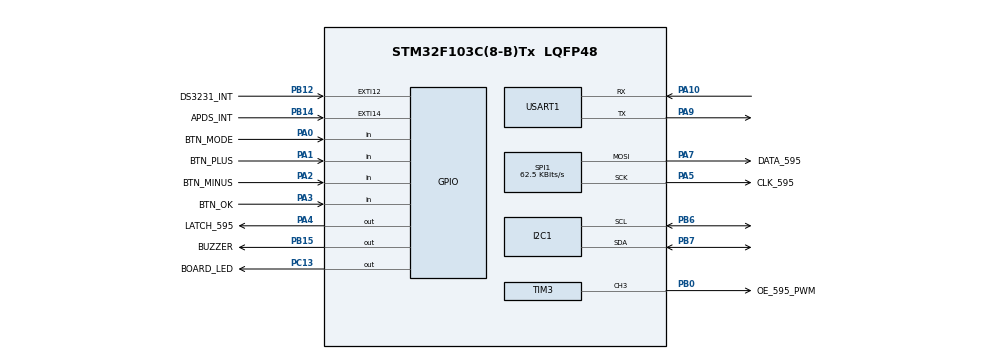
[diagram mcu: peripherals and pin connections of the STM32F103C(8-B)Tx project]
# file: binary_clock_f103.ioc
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Mcu.Family=STM32F1
Mcu.Name=STM32F103C(8-B)Tx
Mcu.Package=LQFP48
NVIC.EXTI15_10_IRQn=true\:0\:0\:false\:false\:true\:true\:true\:true
NVIC.PriorityGroup=NVIC_PRIORITYGROUP_4
NVIC.TIM2_IRQn=true\:0\:0\:false\:false\:true\:true\:true\:true
PA0-WKUP.GPIO_Label=BTN_MODE
PA0-WKUP.GPIO_PuPd=GPIO_PULLUP
PA0-WKUP.Signal=GPIO_Input
PA1.GPIO_Label=BTN_PLUS
PA1.GPIO_PuPd=GPIO_PULLUP
PA1.Signal=GPIO_Input
PA10.Mode=Asynchronous
PA10.Signal=USART1_RX
PA13.Mode=Serial_Wire
PA13.Signal=SYS_JTMS-SWDIO
PA14.Mode=Serial_Wire
PA14.Signal=SYS_JTCK-SWCLK
PA2.GPIO_Label=BTN_MINUS
PA2.GPIO_PuPd=GPIO_PULLUP
PA2.Signal=GPIO_Input
PA3.GPIO_Label=BTN_OK
PA3.GPIO_PuPd=GPIO_PULLUP
PA3.Signal=GPIO_Input
PA4.GPIO_Label=LATCH_595
PA4.GPIO_PuPd=GPIO_NOPULL
PA4.Signal=GPIO_Output
PA5.GPIO_Label=CLK_595
PA5.Mode=TX_Only_Simplex_Unidirect_Master
PA5.Signal=SPI1_SCK
PA7.GPIO_Label=DATA_595
PA7.Mode=TX_Only_Simplex_Unidirect_Master
PA7.Signal=SPI1_MOSI
PA9.Mode=Asynchronous
PA9.Signal=USART1_TX
PB0.GPIO_Label=OE_595_PWM
PB0.Signal=S_TIM3_CH3
PB12.GPIO_Label=DS3231_INT
PB12.GPIO_ModeDefaultEXTI=GPIO_MODE_IT_FALLING
PB12.GPIO_PuPd=GPIO_PULLUP
PB12.Signal=GPXTI12
PB14.GPIO_Label=APDS_INT
PB14.GPIO_ModeDefaultEXTI=GPIO_MODE_IT_FALLING
PB14.GPIO_PuPd=GPIO_PULLUP
PB14.Signal=GPXTI14
PB15.GPIO_Label=BUZZER
PB15.PinState=GPIO_PIN_SET
PB15.Signal=GPIO_Output
PB6.Mode=I2C
PB6.Signal=I2C1_SCL
PB7.Mode=I2C
PB7.Signal=I2C1_SDA
PC13-TAMPER-RTC.GPIO_Label=BOARD_LED
PC13-TAMPER-RTC.PinState=GPIO_PIN_SET
PC13-TAMPER-RTC.Signal=GPIO_Output
ProjectManager.HeapSize=0x200
ProjectManager.StackSize=0x400
ProjectManager.TargetToolchain=CMake
RCC.APB1Freq_Value=8000000
RCC.APB2Freq_Value=8000000
SH.S_TIM3_CH3.0=TIM3_CH3,PWM Generation3 CH3
SPI1.BaudRatePrescaler=SPI_BAUDRATEPRESCALER_128
SPI1.CalculateBaudRate=62.5 KBits/s
SPI1.Direction=SPI_DIRECTION_2LINES
SPI1.Mode=SPI_MODE_MASTER
SPI1.VirtualType=VM_MASTER
TIM2.Period=9
TIM2.Prescaler=7999
TIM3.Channel-PWM\ Generation3\ CH3=TIM_CHANNEL_3
TIM3.Period=999
TIM3.Prescaler=7
USART1.VirtualMode=VM_ASYNC
VP_TIM2_VS_ClockSourceINT.Mode=Internal
VP_TIM3_VS_ClockSourceINT.Mode=Internal
board=custom

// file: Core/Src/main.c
/* USER CODE BEGIN Header */
/**
  ******************************************************************************
  * @file           : main.c
  * @brief          : Main program body
  ******************************************************************************
  * @attention
  *
  * Copyright (c) 2026 STMicroelectronics.
  * All rights reserved.
  *
  * This software is licensed under terms that can be found in the LICENSE file
  * in the root directory of this software component.
  * If no LICENSE file comes with this software, it is provided AS-IS.
  *
  ******************************************************************************
  */
/* USER CODE END Header */
#include "main.h"

/* USER CODE BEGIN Includes */
#include "alarm_service.h"
#include "app_scheduler.h"
#include "apds9960_sensor.h"
#include "htu21d_sensor.h"
#include "rtc_ds3231.h"
#include <stdio.h>
#include <string.h>

/* USER CODE END Includes */

/* USER CODE BEGIN PTD */
typedef struct
{
  const char *name;
  GPIO_TypeDef *port;
  uint16_t pin;
  GPIO_PinState stable_level;
  GPIO_PinState last_raw_level;
  uint32_t last_raw_change_ms;
  uint32_t pressed_since_ms;
} ButtonTestState;

typedef enum
{
  APP_DISPLAY_MODE_TIME = 0,
  APP_DISPLAY_MODE_DATE,
  APP_DISPLAY_MODE_ENV,
  APP_DISPLAY_MODE_ALARM,
} AppDisplayMode;

typedef enum
{
  APP_EDIT_FIELD_NONE = 0,
  APP_EDIT_FIELD_TIME_HOURS,
  APP_EDIT_FIELD_TIME_MINUTES,
  APP_EDIT_FIELD_DATE_MONTH,
  APP_EDIT_FIELD_DATE_DAY,
  APP_EDIT_FIELD_ALARM_HOURS,
  APP_EDIT_FIELD_ALARM_MINUTES,
} AppEditField;

/* USER CODE END PTD */

/* USER CODE BEGIN PD */
#define SHIFT_REGISTER_BYTE_COUNT 3U
#define SHIFT_REGISTER_TIMEOUT_MS 10U
#define BRINGUP_STEP_DELAY_MS 500U
#define DISPLAY_STATUS_EDITING (1U << 1U)
#define DISPLAY_STATUS_TIME (1U << 2U)
#define DISPLAY_STATUS_DATE (1U << 3U)
#define DISPLAY_STATUS_ENV (1U << 4U)
#define DISPLAY_STATUS_ALARM (1U << 5U)
#define BRIGHTNESS_MIN_PERCENT 5U
#define BRIGHTNESS_MAX_PERCENT 100U
#define BRIGHTNESS_LOW_LIGHT_CLEAR 20U
#define BRIGHTNESS_HIGH_LIGHT_CLEAR 800U
#define BRIGHTNESS_SMOOTH_STEP_PERCENT 5U
#define GESTURE_ALARM_SEQUENCE_TIMEOUT_MS 1500U
#define PROXIMITY_SOFT_ALARM_ON 80U
#define PROXIMITY_SOFT_ALARM_OFF 35U
#define RTC_WRITE_EXAMPLE_ON_BOOT 0
#define BUTTON_COUNT 4U
#define BUTTON_MODE_INDEX 0U
#define BUTTON_PLUS_INDEX 1U
#define BUTTON_MINUS_INDEX 2U
#define BUTTON_OK_INDEX 3U
#define BUTTON_DEBOUNCE_MS 30U
#define BUTTON_LONG_PRESS_MS 800U
#define APP_DISPLAY_MODE_COUNT 4U

/* USER CODE END PD */

I2C_HandleTypeDef hi2c1;

SPI_HandleTypeDef hspi1;

TIM_HandleTypeDef htim2;
TIM_HandleTypeDef htim3;

UART_HandleTypeDef huart1;

/* USER CODE BEGIN PV */
static ButtonTestState button_test_states[BUTTON_COUNT] = {
  { "BTN_MODE", BTN_MODE_GPIO_Port, BTN_MODE_Pin, GPIO_PIN_SET, GPIO_PIN_SET, 0U, 0U },
  { "BTN_PLUS", BTN_PLUS_GPIO_Port, BTN_PLUS_Pin, GPIO_PIN_SET, GPIO_PIN_SET, 0U, 0U },
  { "BTN_MINUS", BTN_MINUS_GPIO_Port, BTN_MINUS_Pin, GPIO_PIN_SET, GPIO_PIN_SET, 0U, 0U },
  { "BTN_OK", BTN_OK_GPIO_Port, BTN_OK_Pin, GPIO_PIN_SET, GPIO_PIN_SET, 0U, 0U },
};
static AppDisplayMode app_display_mode = APP_DISPLAY_MODE_TIME;
static AppEditField app_edit_field = APP_EDIT_FIELD_NONE;
static bool app_edit_blink_on = true;
static uint8_t app_status_feedback_ticks = 0U;
static bool app_status_feedback_on = false;
static uint8_t app_edit_hours = 0U;
static uint8_t app_edit_minutes = 0U;
static uint8_t app_edit_month = 1U;
static uint8_t app_edit_day = 1U;
static RtcDs3231_DateTime latest_rtc_time;
static bool latest_rtc_time_valid = false;
static Htu21dMeasurement latest_env_measurement;
static bool latest_env_measurement_valid = false;
static AlarmService alarm_service;

/* USER CODE END PV */

void SystemClock_Config(void);
static void MX_GPIO_Init(void);
static void MX_I2C1_Init(void);
static void MX_SPI1_Init(void);
static void MX_TIM2_Init(void);
static void MX_TIM3_Init(void);
static void MX_USART1_UART_Init(void);
/* USER CODE BEGIN PFP */
static void Debug_WriteLine(const char *text);
static void Debug_WriteDateTime(const RtcDs3231_DateTime *date_time);
static void Debug_WriteMeasurement(const Htu21dMeasurement *measurement);
static void Debug_WriteAmbientLight(const Apds9960AmbientLight *light);
static void ButtonTest_Init(uint32_t now_ms);
static void ButtonTest_Update(uint32_t now_ms);
static uint8_t Brightness_CalculateTargetPercent(uint16_t clear_value);
static uint8_t Brightness_StepToward(uint8_t current_percent,
                                     uint8_t target_percent);
static void Brightness_SetPercent(uint8_t brightness_percent);
static uint8_t Display_EncodeBinary7(uint8_t value);
static uint8_t Display_BuildStatus(uint8_t mode_status);
static void Display_WriteRows(uint8_t top, uint8_t bottom, uint8_t status,
                              bool show_top, bool show_bottom);
static void Display_WriteTime(uint8_t hours, uint8_t minutes);
static void Display_WriteDate(uint8_t month, uint8_t day);
static void Display_WriteEnvironment(const Htu21dMeasurement *measurement);
static void Display_WriteAlarm(void);
static void Display_WriteEdit(void);
static void Display_WriteCurrentMode(const RtcDs3231_DateTime *date_time);
static const char *App_DisplayModeName(AppDisplayMode mode);
static const char *App_GestureName(Apds9960Gesture gesture);
static bool App_IsEditing(void);
static void App_SetDisplayMode(AppDisplayMode mode);
static void App_NextDisplayMode(void);
static void App_PreviousDisplayMode(void);
static uint8_t App_DaysInMonth(uint16_t year, uint8_t month);
static uint8_t App_WrapValue(uint8_t value, int8_t delta, uint8_t min_value,
                             uint8_t max_value);
static void App_StartSetupForCurrentMode(void);
static void App_CancelEdit(void);
static void App_AdjustEditValue(int8_t delta);
static void App_AdvanceOrSaveEdit(void);
static void App_HandleButtonShortPress(uint32_t button_index);
static void App_HandleOkButtonShortPress(void);
static bool App_IsAlarmRinging(void);
static void App_SnoozeAlarmOneMinute(void);
static void App_DismissAlarm(void);
static void App_HandleGesture(Apds9960Gesture gesture, uint32_t now_ms);
static void App_ReadRtcAndRefresh(void);
static void App_ReadEnvironmentAndRefresh(void);
static void App_ReadAmbientLightAndUpdate(uint8_t *current_brightness_percent);
static bool App_WriteRtcAndVerify(const RtcDs3231_DateTime *date_time,
                                  const char *label);
static void ShiftRegister_Write24(uint32_t value);

/* USER CODE END PFP */

/* USER CODE BEGIN 0 */
static void Debug_WriteLine(const char *text)
{
  if (text == NULL)
  {
    return;
  }

  (void) HAL_UART_Transmit(&huart1, (uint8_t *) text, strlen(text),
                           HAL_MAX_DELAY);
  (void) HAL_UART_Transmit(&huart1, (uint8_t *) "\r\n", 2U, HAL_MAX_DELAY);
}

static void Debug_WriteDateTime(const RtcDs3231_DateTime *date_time)
{
  char line[48];

  if (date_time == NULL)
  {
    return;
  }

  (void) snprintf(line, sizeof(line), "RTC %04u-%02u-%02u %02u:%02u:%02u",
                  date_time->year, date_time->month, date_time->day,
                  date_time->hours, date_time->minutes, date_time->seconds);
  Debug_WriteLine(line);
}

static void Debug_WriteMeasurement(const Htu21dMeasurement *measurement)
{
  char line[64];
  int16_t temperature;
  uint16_t humidity;
  char temperature_sign = '+';

  if (measurement == NULL)
  {
    return;
  }

  temperature = measurement->temperature_centi_c;
  humidity = measurement->humidity_centi_rh;

  if (temperature < 0)
  {
    temperature_sign = '-';
    temperature = (int16_t) -temperature;
  }

  (void) snprintf(line, sizeof(line), "ENV %c%d.%02d C %u.%02u %%RH",
                  temperature_sign, temperature / 100, temperature % 100,
                  humidity / 100U, humidity % 100U);
  Debug_WriteLine(line);
}

static void Debug_WriteAmbientLight(const Apds9960AmbientLight *light)
{
  char line[72];

  if (light == NULL)
  {
    return;
  }

  (void) snprintf(line, sizeof(line), "LIGHT C=%u R=%u G=%u B=%u",
                  light->clear, light->red, light->green, light->blue);
  Debug_WriteLine(line);
}

static void ButtonTest_Init(uint32_t now_ms)
{
  for (uint32_t index = 0U; index < BUTTON_COUNT; index++)
  {
    GPIO_PinState level = HAL_GPIO_ReadPin(button_test_states[index].port,
                                           button_test_states[index].pin);

    button_test_states[index].stable_level = level;
    button_test_states[index].last_raw_level = level;
    button_test_states[index].last_raw_change_ms = now_ms;
    button_test_states[index].pressed_since_ms = 0U;
  }
}

static void ButtonTest_Update(uint32_t now_ms)
{
  char line[64];

  for (uint32_t index = 0U; index < BUTTON_COUNT; index++)
  {
    ButtonTestState *button = &button_test_states[index];
    GPIO_PinState raw_level = HAL_GPIO_ReadPin(button->port, button->pin);

    if (raw_level != button->last_raw_level)
    {
      button->last_raw_level = raw_level;
      button->last_raw_change_ms = now_ms;
    }

    if ((raw_level != button->stable_level) &&
        ((now_ms - button->last_raw_change_ms) >= BUTTON_DEBOUNCE_MS))
    {
      button->stable_level = raw_level;

      if (button->stable_level == GPIO_PIN_RESET)
      {
        button->pressed_since_ms = now_ms;
        (void) snprintf(line, sizeof(line), "%s pressed", button->name);
        Debug_WriteLine(line);
      }
      else
      {
        uint32_t press_time_ms = now_ms - button->pressed_since_ms;
        bool is_long_press = press_time_ms >= BUTTON_LONG_PRESS_MS;
        const char *press_kind = is_long_press ? "long" : "short";

        (void) snprintf(line, sizeof(line), "%s released: %s %lu ms",
                        button->name, press_kind,
                        (unsigned long) press_time_ms);
        Debug_WriteLine(line);

        if (is_long_press)
        {
          continue;
        }

        App_HandleButtonShortPress(index);
      }
    }
  }
}

static uint8_t Brightness_CalculateTargetPercent(uint16_t clear_value)
{
  uint32_t range;
  uint32_t offset;
  uint32_t brightness_range;

  if (clear_value <= BRIGHTNESS_LOW_LIGHT_CLEAR)
  {
    return BRIGHTNESS_MIN_PERCENT;
  }

  if (clear_value >= BRIGHTNESS_HIGH_LIGHT_CLEAR)
  {
    return BRIGHTNESS_MAX_PERCENT;
  }

  range = BRIGHTNESS_HIGH_LIGHT_CLEAR - BRIGHTNESS_LOW_LIGHT_CLEAR;
  offset = clear_value - BRIGHTNESS_LOW_LIGHT_CLEAR;
  brightness_range = BRIGHTNESS_MAX_PERCENT - BRIGHTNESS_MIN_PERCENT;

  return (uint8_t) (BRIGHTNESS_MIN_PERCENT +
                    ((offset * brightness_range) / range));
}

static uint8_t Brightness_StepToward(uint8_t current_percent,
                                     uint8_t target_percent)
{
  if (current_percent < target_percent)
  {
    uint8_t next_percent =
        (uint8_t) (current_percent + BRIGHTNESS_SMOOTH_STEP_PERCENT);

    return (next_percent > target_percent) ? target_percent : next_percent;
  }

  if (current_percent > target_percent)
  {
    if ((current_percent - target_percent) < BRIGHTNESS_SMOOTH_STEP_PERCENT)
    {
      return target_percent;
    }

    return (uint8_t) (current_percent - BRIGHTNESS_SMOOTH_STEP_PERCENT);
  }

  return current_percent;
}

static void Brightness_SetPercent(uint8_t brightness_percent)
{
  uint32_t timer_steps = htim3.Init.Period + 1U;
  uint32_t compare;

  if (brightness_percent > 100U)
  {
    brightness_percent = 100U;
  }

  /* 74HC595 OE is active-low: HIGH disables LEDs, LOW enables LEDs. */
  compare = ((100U - brightness_percent) * timer_steps) / 100U;
  if (compare > htim3.Init.Period)
  {
    compare = htim3.Init.Period;
  }

  __HAL_TIM_SET_COMPARE(&htim3, TIM_CHANNEL_3, compare);
}

static uint8_t Display_EncodeBinary7(uint8_t value)
{
  return (uint8_t) ((value & 0x7FU) << 1U);
}

static uint8_t Display_BuildStatus(uint8_t mode_status)
{
  uint8_t status = mode_status;

  if (App_IsEditing())
  {
    status |= DISPLAY_STATUS_EDITING;
    if (!app_edit_blink_on)
    {
      status &= (uint8_t) ~mode_status;
    }
  }
  else if (app_status_feedback_on)
  {
    status |= DISPLAY_STATUS_EDITING;
  }

  if (AlarmService_IsRinging(&alarm_service))
  {
    if (alarm_service.buzzer_active)
    {
      status |= DISPLAY_STATUS_ALARM;
    }
    else
    {
      status &= (uint8_t) ~DISPLAY_STATUS_ALARM;
    }
  }
  else if (alarm_service.enabled && !App_IsEditing())
  {
    status |= DISPLAY_STATUS_ALARM;
  }

  return status;
}

static void Display_WriteRows(uint8_t top, uint8_t bottom, uint8_t status,
                              bool show_top, bool show_bottom)
{
  uint32_t display_value =
      (((uint32_t) Display_BuildStatus(status)) << 16U) |
      (((uint32_t) (show_bottom ? Display_EncodeBinary7(bottom) : 0U)) << 8U) |
      (show_top ? Display_EncodeBinary7(top) : 0U);

  ShiftRegister_Write24(display_value);
}

static void Display_WriteTime(uint8_t hours, uint8_t minutes)
{
  Display_WriteRows(hours, minutes, DISPLAY_STATUS_TIME, true, true);
}

static void Display_WriteDate(uint8_t month, uint8_t day)
{
  Display_WriteRows(month, day, DISPLAY_STATUS_DATE, true, true);
}

static void Display_WriteEnvironment(const Htu21dMeasurement *measurement)
{
  int16_t temperature_centi_c;
  uint16_t humidity_centi_rh;
  uint8_t temperature_c;
  uint8_t humidity_rh;

  if (measurement == NULL)
  {
    return;
  }

  temperature_centi_c = measurement->temperature_centi_c;
  humidity_centi_rh = measurement->humidity_centi_rh;

  if (temperature_centi_c < 0)
  {
    temperature_c = 0U;
  }
  else
  {
    temperature_c = (uint8_t) ((temperature_centi_c + 50) / 100);
  }

  humidity_rh = (uint8_t) ((humidity_centi_rh + 50U) / 100U);

  Display_WriteRows(temperature_c, humidity_rh, DISPLAY_STATUS_ENV, true, true);
}

static void Display_WriteAlarm(void)
{
  Display_WriteRows(alarm_service.hours, alarm_service.minutes,
                    DISPLAY_STATUS_ALARM, true, true);
}

static void Display_WriteEdit(void)
{
  switch (app_edit_field)
  {
    case APP_EDIT_FIELD_TIME_HOURS:
      Display_WriteRows(app_edit_hours, app_edit_minutes, DISPLAY_STATUS_TIME,
                        app_edit_blink_on, true);
      break;

    case APP_EDIT_FIELD_TIME_MINUTES:
      Display_WriteRows(app_edit_hours, app_edit_minutes, DISPLAY_STATUS_TIME,
                        true, app_edit_blink_on);
      break;

    case APP_EDIT_FIELD_DATE_MONTH:
      Display_WriteRows(app_edit_month, app_edit_day, DISPLAY_STATUS_DATE,
                        app_edit_blink_on, true);
      break;

    case APP_EDIT_FIELD_DATE_DAY:
      Display_WriteRows(app_edit_month, app_edit_day, DISPLAY_STATUS_DATE,
                        true, app_edit_blink_on);
      break;

    case APP_EDIT_FIELD_ALARM_HOURS:
      Display_WriteRows(app_edit_hours, app_edit_minutes, DISPLAY_STATUS_ALARM,
                        app_edit_blink_on, true);
      break;

    case APP_EDIT_FIELD_ALARM_MINUTES:
      Display_WriteRows(app_edit_hours, app_edit_minutes, DISPLAY_STATUS_ALARM,
                        true, app_edit_blink_on);
      break;

    case APP_EDIT_FIELD_NONE:
    default:
      break;
  }
}

static void Display_WriteCurrentMode(const RtcDs3231_DateTime *date_time)
{
  if (App_IsEditing())
  {
    Display_WriteEdit();
    return;
  }

  switch (app_display_mode)
  {
    case APP_DISPLAY_MODE_ALARM:
      Display_WriteAlarm();
      break;

    case APP_DISPLAY_MODE_ENV:
      if (latest_env_measurement_valid)
      {
        Display_WriteEnvironment(&latest_env_measurement);
      }
      break;

    case APP_DISPLAY_MODE_DATE:
      if (date_time != NULL)
      {
        Display_WriteDate(date_time->month, date_time->day);
      }
      break;

    case APP_DISPLAY_MODE_TIME:
    default:
      if (date_time != NULL)
      {
        Display_WriteTime(date_time->hours, date_time->minutes);
      }
      break;
  }
}

static const char *App_DisplayModeName(AppDisplayMode mode)
{
  switch (mode)
  {
    case APP_DISPLAY_MODE_ALARM:
      return "ALARM";

    case APP_DISPLAY_MODE_ENV:
      return "ENV";

    case APP_DISPLAY_MODE_DATE:
      return "DATE";

    case APP_DISPLAY_MODE_TIME:
    default:
      return "TIME";
  }
}

static const char *App_GestureName(Apds9960Gesture gesture)
{
  switch (gesture)
  {
    case APDS9960_GESTURE_LEFT:
      return "LEFT";

    case APDS9960_GESTURE_RIGHT:
      return "RIGHT";

    case APDS9960_GESTURE_UP:
      return "UP";

    case APDS9960_GESTURE_DOWN:
      return "DOWN";

    case APDS9960_GESTURE_NONE:
    default:
      return "NONE";
  }
}

static void App_ReadRtcAndRefresh(void)
{
  RtcDs3231_DateTime now;

  if (RtcDs3231_ReadDateTime(&hi2c1, &now) == HAL_OK)
  {
    Debug_WriteDateTime(&now);
    latest_rtc_time = now;
    latest_rtc_time_valid = true;
    if (!App_IsEditing())
    {
      Display_WriteCurrentMode(&latest_rtc_time);
    }
  }
  else
  {
    Debug_WriteLine("RTC read FAILED");
  }
}

static void App_ReadEnvironmentAndRefresh(void)
{
  Htu21dMeasurement measurement;

  if (Htu21d_ReadMeasurement(&hi2c1, &measurement) == HAL_OK)
  {
    Debug_WriteMeasurement(&measurement);
    latest_env_measurement = measurement;
    latest_env_measurement_valid = true;
    if ((app_display_mode == APP_DISPLAY_MODE_ENV) && !App_IsEditing())
    {
      Display_WriteEnvironment(&latest_env_measurement);
    }
  }
  else
  {
    Debug_WriteLine("HTU21D read FAILED");
  }
}

static void App_ReadAmbientLightAndUpdate(uint8_t *current_brightness_percent)
{
  Apds9960AmbientLight light;
  HAL_StatusTypeDef status;

  if (current_brightness_percent == NULL)
  {
    return;
  }

  status = Apds9960_ReadAmbientLight(&hi2c1, &light);
  if (status == HAL_OK)
  {
    uint8_t target_brightness_percent =
        Brightness_CalculateTargetPercent(light.clear);
    char line[72];

    *current_brightness_percent =
        Brightness_StepToward(*current_brightness_percent,
                              target_brightness_percent);
    Brightness_SetPercent(*current_brightness_percent);
    Debug_WriteAmbientLight(&light);
    (void) snprintf(line, sizeof(line),
                    "AUTO BRIGHTNESS target=%u%% current=%u%%",
                    target_brightness_percent,
                    *current_brightness_percent);
    Debug_WriteLine(line);
  }
  else if (status != HAL_BUSY)
  {
    Debug_WriteLine("APDS-9960 light read FAILED");
  }
}

static bool App_WriteRtcAndVerify(const RtcDs3231_DateTime *date_time,
                                  const char *label)
{
  RtcDs3231_DateTime read_back;
  char line[64];

  if ((date_time == NULL) || (label == NULL))
  {
    return false;
  }

  if (RtcDs3231_WriteDateTime(&hi2c1, date_time) != HAL_OK)
  {
    (void) snprintf(line, sizeof(line), "%s save FAILED: write", label);
    Debug_WriteLine(line);
    return false;
  }

  if (RtcDs3231_ReadDateTime(&hi2c1, &read_back) != HAL_OK)
  {
    (void) snprintf(line, sizeof(line), "%s save FAILED: read-back", label);
    Debug_WriteLine(line);
    return false;
  }

  latest_rtc_time = read_back;
  latest_rtc_time_valid = true;

  if ((read_back.year != date_time->year) ||
      (read_back.month != date_time->month) ||
      (read_back.day != date_time->day) ||
      (read_back.hours != date_time->hours) ||
      (read_back.minutes != date_time->minutes))
  {
    (void) snprintf(line, sizeof(line), "%s save VERIFY FAILED", label);
    Debug_WriteLine(line);
    Debug_WriteDateTime(&read_back);
    return false;
  }

  if (RtcDs3231_ClearOscillatorStopFlag(&hi2c1) != HAL_OK)
  {
    Debug_WriteLine("RTC OSF clear FAILED");
  }

  (void) snprintf(line, sizeof(line), "%s save verified", label);
  Debug_WriteLine(line);
  Debug_WriteDateTime(&read_back);
  return true;
}

static bool App_IsEditing(void)
{
  return app_edit_field != APP_EDIT_FIELD_NONE;
}

static void App_SetDisplayMode(AppDisplayMode mode)
{
  char line[32];

  app_display_mode = mode;
  (void) snprintf(line, sizeof(line), "DISPLAY MODE %s",
                  App_DisplayModeName(app_display_mode));
  Debug_WriteLine(line);
  Display_WriteCurrentMode(latest_rtc_time_valid ? &latest_rtc_time : NULL);
}

static void App_NextDisplayMode(void)
{
  App_SetDisplayMode((AppDisplayMode) (((uint8_t) app_display_mode + 1U) %
                                       APP_DISPLAY_MODE_COUNT));
}

static void App_PreviousDisplayMode(void)
{
  if (app_display_mode == APP_DISPLAY_MODE_TIME)
  {
    App_SetDisplayMode(APP_DISPLAY_MODE_ALARM);
  }
  else
  {
    App_SetDisplayMode((AppDisplayMode) ((uint8_t) app_display_mode - 1U));
  }
}

static uint8_t App_DaysInMonth(uint16_t year, uint8_t month)
{
  switch (month)
  {
    case 2U:
      if (((year % 4U) == 0U) &&
          (((year % 100U) != 0U) || ((year % 400U) == 0U)))
      {
        return 29U;
      }
      return 28U;

    case 4U:
    case 6U:
    case 9U:
    case 11U:
      return 30U;

    default:
      return 31U;
  }
}

static uint8_t App_WrapValue(uint8_t value, int8_t delta, uint8_t min_value,
                             uint8_t max_value)
{
  int16_t next_value = (int16_t) value + delta;

  if (next_value < (int16_t) min_value)
  {
    return max_value;
  }

  if (next_value > (int16_t) max_value)
  {
    return min_value;
  }

  return (uint8_t) next_value;
}

static void App_StartSetupForCurrentMode(void)
{
  if (app_display_mode == APP_DISPLAY_MODE_ENV)
  {
    Debug_WriteLine("SETUP skipped: ENV has no editable fields");
    return;
  }

  if ((app_display_mode == APP_DISPLAY_MODE_TIME) ||
      (app_display_mode == APP_DISPLAY_MODE_DATE))
  {
    if (!latest_rtc_time_valid)
    {
      Debug_WriteLine("SETUP skipped: RTC time is not ready");
      return;
    }

    app_edit_hours = latest_rtc_time.hours;
    app_edit_minutes = latest_rtc_time.minutes;
    app_edit_month = latest_rtc_time.month;
    app_edit_day = latest_rtc_time.day;
  }

  app_edit_blink_on = true;

  if (app_display_mode == APP_DISPLAY_MODE_TIME)
  {
    app_edit_field = APP_EDIT_FIELD_TIME_HOURS;
    Debug_WriteLine("SETUP TIME: edit hours");
  }
  else if (app_display_mode == APP_DISPLAY_MODE_DATE)
  {
    app_edit_field = APP_EDIT_FIELD_DATE_MONTH;
    Debug_WriteLine("SETUP DATE: edit month");
  }
  else
  {
    app_edit_hours = alarm_service.hours;
    app_edit_minutes = alarm_service.minutes;
    app_edit_field = APP_EDIT_FIELD_ALARM_HOURS;
    Debug_WriteLine("SETUP ALARM: edit hours");
  }

  Display_WriteCurrentMode(latest_rtc_time_valid ? &latest_rtc_time : NULL);
}

static void App_CancelEdit(void)
{
  if (!App_IsEditing())
  {
    return;
  }

  app_edit_field = APP_EDIT_FIELD_NONE;
  app_edit_blink_on = true;
  Debug_WriteLine("SETUP canceled");
  Display_WriteCurrentMode(latest_rtc_time_valid ? &latest_rtc_time : NULL);
}

static void App_AdjustEditValue(int8_t delta)
{
  uint8_t max_day;

  switch (app_edit_field)
  {
    case APP_EDIT_FIELD_TIME_HOURS:
    case APP_EDIT_FIELD_ALARM_HOURS:
      app_edit_hours = App_WrapValue(app_edit_hours, delta, 0U, 23U);
      break;

    case APP_EDIT_FIELD_TIME_MINUTES:
    case APP_EDIT_FIELD_ALARM_MINUTES:
      app_edit_minutes = App_WrapValue(app_edit_minutes, delta, 0U, 59U);
      break;

    case APP_EDIT_FIELD_DATE_MONTH:
      app_edit_month = App_WrapValue(app_edit_month, delta, 1U, 12U);
      max_day = App_DaysInMonth(latest_rtc_time.year, app_edit_month);
      if (app_edit_day > max_day)
      {
        app_edit_day = max_day;
      }
      break;

    case APP_EDIT_FIELD_DATE_DAY:
      max_day = App_DaysInMonth(latest_rtc_time.year, app_edit_month);
      app_edit_day = App_WrapValue(app_edit_day, delta, 1U, max_day);
      break;

    case APP_EDIT_FIELD_NONE:
    default:
      return;
  }

  app_edit_blink_on = true;
  Display_WriteEdit();
}

static void App_AdvanceOrSaveEdit(void)
{
  char line[56];

  switch (app_edit_field)
  {
    case APP_EDIT_FIELD_TIME_HOURS:
      app_edit_field = APP_EDIT_FIELD_TIME_MINUTES;
      app_edit_blink_on = true;
      Debug_WriteLine("SETUP TIME: edit minutes");
      Display_WriteEdit();
      return;

    case APP_EDIT_FIELD_DATE_MONTH:
      app_edit_field = APP_EDIT_FIELD_DATE_DAY;
      app_edit_blink_on = true;
      Debug_WriteLine("SETUP DATE: edit day");
      Display_WriteEdit();
      return;

    case APP_EDIT_FIELD_ALARM_HOURS:
      app_edit_field = APP_EDIT_FIELD_ALARM_MINUTES;
      app_edit_blink_on = true;
      Debug_WriteLine("SETUP ALARM: edit minutes");
      Display_WriteEdit();
      return;

    case APP_EDIT_FIELD_TIME_MINUTES:
      if (latest_rtc_time_valid)
      {
        RtcDs3231_DateTime edited_time = latest_rtc_time;

        edited_time.hours = app_edit_hours;
        edited_time.minutes = app_edit_minutes;
        edited_time.seconds = 0U;

        if (App_WriteRtcAndVerify(&edited_time, "TIME"))
        {
          app_edit_field = APP_EDIT_FIELD_NONE;
          (void) snprintf(line, sizeof(line), "TIME saved %02u:%02u",
                          edited_time.hours, edited_time.minutes);
          Debug_WriteLine(line);
          Display_WriteCurrentMode(&latest_rtc_time);
        }
        else
        {
          Debug_WriteLine("TIME save FAILED");
        }
      }
      return;

    case APP_EDIT_FIELD_DATE_DAY:
      if (latest_rtc_time_valid)
      {
        RtcDs3231_DateTime edited_date = latest_rtc_time;

        edited_date.month = app_edit_month;
        edited_date.day = app_edit_day;

        if (App_WriteRtcAndVerify(&edited_date, "DATE"))
        {
          app_edit_field = APP_EDIT_FIELD_NONE;
          (void) snprintf(line, sizeof(line), "DATE saved %02u-%02u",
                          edited_date.month, edited_date.day);
          Debug_WriteLine(line);
          Display_WriteCurrentMode(&latest_rtc_time);
        }
        else
        {
          Debug_WriteLine("DATE save FAILED");
        }
      }
      return;

    case APP_EDIT_FIELD_ALARM_MINUTES:
      if (AlarmService_SetAlarm(&alarm_service, app_edit_hours,
                                app_edit_minutes,
                                alarm_service.enabled) == HAL_OK)
      {
        app_edit_field = APP_EDIT_FIELD_NONE;
        (void) snprintf(line, sizeof(line), "ALARM saved %02u:%02u %s",
                        alarm_service.hours, alarm_service.minutes,
                        alarm_service.enabled ? "enabled" : "disabled");
        Debug_WriteLine(line);
        Display_WriteCurrentMode(latest_rtc_time_valid ? &latest_rtc_time : NULL);
      }
      else
      {
        Debug_WriteLine("ALARM save FAILED");
      }
      return;

    case APP_EDIT_FIELD_NONE:
    default:
      return;
  }
}

static void App_HandleButtonShortPress(uint32_t button_index)
{
  if (button_index == BUTTON_MODE_INDEX)
  {
    if (App_IsEditing())
    {
      App_CancelEdit();
    }
    else
    {
      App_StartSetupForCurrentMode();
    }
    return;
  }

  if (App_IsEditing())
  {
    if (button_index == BUTTON_PLUS_INDEX)
    {
      App_AdjustEditValue(1);
    }
    else if (button_index == BUTTON_MINUS_INDEX)
    {
      App_AdjustEditValue(-1);
    }
    else if (button_index == BUTTON_OK_INDEX)
    {
      App_AdvanceOrSaveEdit();
    }
    return;
  }

  if (button_index == BUTTON_PLUS_INDEX)
  {
    App_NextDisplayMode();
  }
  else if (button_index == BUTTON_MINUS_INDEX)
  {
    App_PreviousDisplayMode();
  }
  else if (button_index == BUTTON_OK_INDEX)
  {
    App_HandleOkButtonShortPress();
  }
}

static void App_HandleOkButtonShortPress(void)
{
  char line[48];
  bool enabled;

  if (AlarmService_IsRinging(&alarm_service))
  {
    if (AlarmService_Dismiss(&alarm_service) == HAL_OK)
    {
      Debug_WriteLine("ALARM dismissed by OK");
      Display_WriteCurrentMode(latest_rtc_time_valid ? &latest_rtc_time : NULL);
    }
    else
    {
      Debug_WriteLine("ALARM dismiss FAILED");
    }
    return;
  }

  if (app_display_mode != APP_DISPLAY_MODE_ALARM)
  {
    return;
  }

  enabled = !alarm_service.enabled;
  if (AlarmService_SetAlarm(&alarm_service, alarm_service.hours,
                            alarm_service.minutes, enabled) == HAL_OK)
  {
    AlarmService_PlayToggleFeedback(&alarm_service, alarm_service.enabled);
    app_status_feedback_ticks = 2U;
    app_status_feedback_on = true;
    (void) snprintf(line, sizeof(line), "ALARM %02u:%02u %s",
                    alarm_service.hours, alarm_service.minutes,
                    alarm_service.enabled ? "enabled" : "disabled");
    Debug_WriteLine(line);
    Display_WriteAlarm();
  }
  else
  {
    Debug_WriteLine("ALARM toggle FAILED");
  }
}

static bool App_IsAlarmRinging(void)
{
  return AlarmService_IsRinging(&alarm_service);
}

static void App_SnoozeAlarmOneMinute(void)
{
  if (latest_rtc_time_valid)
  {
    uint16_t total_minutes =
        (uint16_t) latest_rtc_time.hours * 60U + latest_rtc_time.minutes + 1U;

    total_minutes %= (24U * 60U);

    if (AlarmService_SetAlarm(&alarm_service, (uint8_t) (total_minutes / 60U),
                              (uint8_t) (total_minutes % 60U),
                              true) == HAL_OK)
    {
      Debug_WriteLine("ALARM snoozed 1 minute by gesture");
      Display_WriteCurrentMode(latest_rtc_time_valid ? &latest_rtc_time : NULL);
      return;
    }
  }

  Debug_WriteLine("ALARM snooze FAILED");
}

static void App_DismissAlarm(void)
{
  if (AlarmService_Dismiss(&alarm_service) == HAL_OK)
  {
    Debug_WriteLine("ALARM dismissed by gesture");
    Display_WriteCurrentMode(latest_rtc_time_valid ? &latest_rtc_time : NULL);
  }
  else
  {
    Debug_WriteLine("ALARM dismiss FAILED");
  }
}

static void App_HandleGesture(Apds9960Gesture gesture, uint32_t now_ms)
{
  static Apds9960Gesture pending_alarm_gesture = APDS9960_GESTURE_NONE;
  static uint32_t pending_alarm_gesture_ms = 0U;
  char line[32];

  if (gesture == APDS9960_GESTURE_NONE)
  {
    return;
  }

  (void) snprintf(line, sizeof(line), "GESTURE %s", App_GestureName(gesture));
  Debug_WriteLine(line);

  if (!App_IsAlarmRinging() && App_IsEditing())
  {
    return;
  }

  if (!App_IsAlarmRinging())
  {
    pending_alarm_gesture = APDS9960_GESTURE_NONE;

    if ((gesture == APDS9960_GESTURE_RIGHT) ||
        (gesture == APDS9960_GESTURE_DOWN))
    {
      App_NextDisplayMode();
    }
    else if ((gesture == APDS9960_GESTURE_LEFT) ||
             (gesture == APDS9960_GESTURE_UP))
    {
      App_PreviousDisplayMode();
    }

    return;
  }

  if ((pending_alarm_gesture != APDS9960_GESTURE_NONE) &&
      ((now_ms - pending_alarm_gesture_ms) >
       GESTURE_ALARM_SEQUENCE_TIMEOUT_MS))
  {
    pending_alarm_gesture = APDS9960_GESTURE_NONE;
  }

  if ((pending_alarm_gesture == APDS9960_GESTURE_LEFT) &&
      (gesture == APDS9960_GESTURE_RIGHT))
  {
    pending_alarm_gesture = APDS9960_GESTURE_NONE;
    App_SnoozeAlarmOneMinute();
    return;
  }

  if ((pending_alarm_gesture == APDS9960_GESTURE_RIGHT) &&
      (gesture == APDS9960_GESTURE_LEFT))
  {
    pending_alarm_gesture = APDS9960_GESTURE_NONE;
    App_DismissAlarm();
    return;
  }

  if ((gesture == APDS9960_GESTURE_LEFT) ||
      (gesture == APDS9960_GESTURE_RIGHT))
  {
    pending_alarm_gesture = gesture;
    pending_alarm_gesture_ms = now_ms;
  }
}

static void ShiftRegister_Write24(uint32_t value)
{
  uint8_t bytes[SHIFT_REGISTER_BYTE_COUNT];

  bytes[0] = (uint8_t) ((value >> 16U) & 0xFFU);
  bytes[1] = (uint8_t) ((value >> 8U) & 0xFFU);
  bytes[2] = (uint8_t) (value & 0xFFU);

  HAL_GPIO_WritePin(LATCH_595_GPIO_Port, LATCH_595_Pin, GPIO_PIN_RESET);
  (void) HAL_SPI_Transmit(&hspi1, bytes, SHIFT_REGISTER_BYTE_COUNT,
                          SHIFT_REGISTER_TIMEOUT_MS);
  HAL_GPIO_WritePin(LATCH_595_GPIO_Port, LATCH_595_Pin, GPIO_PIN_SET);
  HAL_GPIO_WritePin(LATCH_595_GPIO_Port, LATCH_595_Pin, GPIO_PIN_RESET);
}

/* USER CODE END 0 */

int main(void)
{

  /* MCU Configuration--------------------------------------------------------*/

  /* Reset of all peripherals, Initializes the Flash interface and the Systick. */
  HAL_Init();

  /* Configure the system clock */
  SystemClock_Config();

  /* Initialize all configured peripherals */
  MX_GPIO_Init();
  MX_I2C1_Init();
  MX_SPI1_Init();
  MX_TIM2_Init();
  MX_TIM3_Init();
  MX_USART1_UART_Init();
  /* USER CODE BEGIN 2 */
  (void) HAL_TIM_PWM_Start(&htim3, TIM_CHANNEL_3);
  Brightness_SetPercent(BRIGHTNESS_MAX_PERCENT);

  ShiftRegister_Write24(0U);
  ButtonTest_Init(0U);
  AlarmService_Init(&alarm_service, &hi2c1, BUZZER_GPIO_Port, BUZZER_Pin);
  Debug_WriteLine("binary_clock_f103 bring-up started");
  Debug_WriteLine("Display modes: TIME -> DATE -> ENV -> ALARM");
  Debug_WriteLine("UI: PLUS/MINUS change mode, MODE enters setup, OK confirms");
  Debug_WriteLine("Auto brightness enabled from APDS-9960 clear channel");
  Debug_WriteLine("Button test enabled: PA0 SETUP, PA1 PLUS, PA2 MINUS, PA3 OK");

  if (!RtcDs3231_IsReady(&hi2c1))
  {
    Debug_WriteLine("DS3231 not found on I2C1");
  }
  else
  {
    bool oscillator_stopped = false;

    Debug_WriteLine("DS3231 found");
    if (RtcDs3231_IsOscillatorStopFlagSet(&hi2c1, &oscillator_stopped) == HAL_OK)
    {
      Debug_WriteLine(oscillator_stopped ? "RTC OSF set: time may be stale"
                                         : "RTC OSF clear");
    }

#if RTC_WRITE_EXAMPLE_ON_BOOT
    const RtcDs3231_DateTime start_time = {
      .year = 2026U,
      .month = 8U,
      .day = 18U,
      .weekday = 2U,
      .hours = 12U,
      .minutes = 0U,
      .seconds = 0U,
    };

    if (RtcDs3231_WriteDateTime(&hi2c1, &start_time) == HAL_OK)
    {
      Debug_WriteLine("RTC write OK");
    }
    else
    {
      Debug_WriteLine("RTC write FAILED");
    }
#endif
    if (AlarmService_SetAlarm(&alarm_service, alarm_service.hours,
                              alarm_service.minutes,
                              alarm_service.enabled) == HAL_OK)
    {
      Debug_WriteLine("Alarm 07:30 disabled");
    }
    else
    {
      Debug_WriteLine("Alarm init FAILED");
    }

    App_ReadRtcAndRefresh();
  }

  if (Htu21d_IsReady(&hi2c1))
  {
    Debug_WriteLine("HTU21D found");
    App_ReadEnvironmentAndRefresh();
  }
  else
  {
    Debug_WriteLine("HTU21D not found on I2C1");
  }

  if (Apds9960_IsReady(&hi2c1))
  {
    uint8_t id = 0U;
    char line[40];

    if (Apds9960_ReadId(&hi2c1, &id) == HAL_OK)
    {
      (void) snprintf(line, sizeof(line), "APDS-9960 found, ID 0x%02X", id);
      Debug_WriteLine(line);
    }
    else
    {
      Debug_WriteLine("APDS-9960 found, ID read FAILED");
    }

    if (Apds9960_InitAmbientLight(&hi2c1) == HAL_OK)
    {
      Debug_WriteLine("APDS-9960 ambient light enabled");
    }
    else
    {
      Debug_WriteLine("APDS-9960 ambient light init FAILED");
    }

    if (Apds9960_InitGesture(&hi2c1) == HAL_OK)
    {
      Debug_WriteLine("APDS-9960 gesture enabled");
    }
    else
    {
      Debug_WriteLine("APDS-9960 gesture init FAILED");
    }
  }
  else
  {
    Debug_WriteLine("APDS-9960 not found on I2C1");
  }

  if (HAL_TIM_Base_Start_IT(&htim2) != HAL_OK)
  {
    Error_Handler();
  }

  /* USER CODE END 2 */

  /* Infinite loop */
  while (1)
  {

    /* USER CODE BEGIN 3 */
    static uint8_t current_brightness_percent = BRIGHTNESS_MAX_PERCENT;
    static bool soft_alarm_by_proximity = false;

    while (AppScheduler_Consume10msTick())
    {
      uint32_t now_ms = AppScheduler_NowMs();

      ButtonTest_Update(now_ms);
      AlarmService_Process(&alarm_service);

      if (AlarmService_OnTick(&alarm_service, 10U) &&
          AlarmService_IsRinging(&alarm_service))
      {
        Display_WriteCurrentMode(latest_rtc_time_valid ? &latest_rtc_time : NULL);
      }
    }

    if (AppScheduler_Consume500msTick())
    {
      bool refresh_display = AlarmService_IsRinging(&alarm_service) ||
                             App_IsEditing() ||
                             (app_status_feedback_ticks > 0U);

      HAL_GPIO_TogglePin(BOARD_LED_GPIO_Port, BOARD_LED_Pin);
      app_edit_blink_on = !app_edit_blink_on;

      if (app_status_feedback_ticks > 0U)
      {
        app_status_feedback_ticks--;
        app_status_feedback_on = false;
      }

      if (refresh_display)
      {
        Display_WriteCurrentMode(latest_rtc_time_valid ? &latest_rtc_time : NULL);
      }
    }

    if (AppScheduler_Consume1sTick())
    {
      App_ReadRtcAndRefresh();
      App_ReadAmbientLightAndUpdate(&current_brightness_percent);
    }

    if (AppScheduler_Consume120msTick())
    {
      Apds9960Gesture gesture;
      HAL_StatusTypeDef status;

      status = Apds9960_ReadGesture(&hi2c1, &gesture);
      if (status == HAL_OK)
      {
        App_HandleGesture(gesture, AppScheduler_NowMs());
      }
      else if (status != HAL_BUSY)
      {
        Debug_WriteLine("APDS-9960 gesture read FAILED");
      }

      if (AlarmService_IsRinging(&alarm_service))
      {
        uint8_t proximity;

        status = Apds9960_ReadProximity(&hi2c1, &proximity);
        if (status == HAL_OK)
        {
          if (!soft_alarm_by_proximity &&
              (proximity >= PROXIMITY_SOFT_ALARM_ON))
          {
            char line[48];

            soft_alarm_by_proximity = true;
            AlarmService_SetSoftRinging(&alarm_service, true);
            (void) snprintf(line, sizeof(line), "ALARM soft proximity=%u",
                            proximity);
            Debug_WriteLine(line);
          }
          else if (soft_alarm_by_proximity &&
                   (proximity <= PROXIMITY_SOFT_ALARM_OFF))
          {
            char line[48];

            soft_alarm_by_proximity = false;
            AlarmService_SetSoftRinging(&alarm_service, false);
            (void) snprintf(line, sizeof(line), "ALARM normal proximity=%u",
                            proximity);
            Debug_WriteLine(line);
          }
        }
        else if (status != HAL_BUSY)
        {
          Debug_WriteLine("APDS-9960 proximity read FAILED");
        }
      }
      else if (soft_alarm_by_proximity)
      {
        soft_alarm_by_proximity = false;
        AlarmService_SetSoftRinging(&alarm_service, false);
      }
    }

    if (AppScheduler_Consume60sTick())
    {
      App_ReadEnvironmentAndRefresh();
    }

    __WFI();
  }
  /* USER CODE END 3 */
}

void SystemClock_Config(void)
{
  RCC_OscInitTypeDef RCC_OscInitStruct = {0};
  RCC_ClkInitTypeDef RCC_ClkInitStruct = {0};

  /** Initializes the RCC Oscillators according to the specified parameters
  * in the RCC_OscInitTypeDef structure.
  */
  RCC_OscInitStruct.OscillatorType = RCC_OSCILLATORTYPE_HSI;
  RCC_OscInitStruct.HSIState = RCC_HSI_ON;
  RCC_OscInitStruct.HSICalibrationValue = RCC_HSICALIBRATION_DEFAULT;
  RCC_OscInitStruct.PLL.PLLState = RCC_PLL_NONE;
  if (HAL_RCC_OscConfig(&RCC_OscInitStruct) != HAL_OK)
  {
    Error_Handler();
  }

  /** Initializes the CPU, AHB and APB buses clocks
  */
  RCC_ClkInitStruct.ClockType = RCC_CLOCKTYPE_HCLK|RCC_CLOCKTYPE_SYSCLK
                              |RCC_CLOCKTYPE_PCLK1|RCC_CLOCKTYPE_PCLK2;
  RCC_ClkInitStruct.SYSCLKSource = RCC_SYSCLKSOURCE_HSI;
  RCC_ClkInitStruct.AHBCLKDivider = RCC_SYSCLK_DIV1;
  RCC_ClkInitStruct.APB1CLKDivider = RCC_HCLK_DIV1;
  RCC_ClkInitStruct.APB2CLKDivider = RCC_HCLK_DIV1;

  if (HAL_RCC_ClockConfig(&RCC_ClkInitStruct, FLASH_LATENCY_0) != HAL_OK)
  {
    Error_Handler();
  }
}

static void MX_I2C1_Init(void)
{

  hi2c1.Instance = I2C1;
  hi2c1.Init.ClockSpeed = 100000;
  hi2c1.Init.DutyCycle = I2C_DUTYCYCLE_2;
  hi2c1.Init.OwnAddress1 = 0;
  hi2c1.Init.AddressingMode = I2C_ADDRESSINGMODE_7BIT;
  hi2c1.Init.DualAddressMode = I2C_DUALADDRESS_DISABLE;
  hi2c1.Init.OwnAddress2 = 0;
  hi2c1.Init.GeneralCallMode = I2C_GENERALCALL_DISABLE;
  hi2c1.Init.NoStretchMode = I2C_NOSTRETCH_DISABLE;
  if (HAL_I2C_Init(&hi2c1) != HAL_OK)
  {
    Error_Handler();
  }

}

static void MX_SPI1_Init(void)
{

  /* SPI1 parameter configuration*/
  hspi1.Instance = SPI1;
  hspi1.Init.Mode = SPI_MODE_MASTER;
  hspi1.Init.Direction = SPI_DIRECTION_2LINES;
  hspi1.Init.DataSize = SPI_DATASIZE_8BIT;
  hspi1.Init.CLKPolarity = SPI_POLARITY_LOW;
  hspi1.Init.CLKPhase = SPI_PHASE_1EDGE;
  hspi1.Init.NSS = SPI_NSS_SOFT;
  hspi1.Init.BaudRatePrescaler = SPI_BAUDRATEPRESCALER_128;
  hspi1.Init.FirstBit = SPI_FIRSTBIT_MSB;
  hspi1.Init.TIMode = SPI_TIMODE_DISABLE;
  hspi1.Init.CRCCalculation = SPI_CRCCALCULATION_DISABLE;
  hspi1.Init.CRCPolynomial = 10;
  if (HAL_SPI_Init(&hspi1) != HAL_OK)
  {
    Error_Handler();
  }

}

static void MX_TIM2_Init(void)
{

  TIM_ClockConfigTypeDef sClockSourceConfig = {0};
  TIM_MasterConfigTypeDef sMasterConfig = {0};

  htim2.Instance = TIM2;
  htim2.Init.Prescaler = 7999;
  htim2.Init.CounterMode = TIM_COUNTERMODE_UP;
  htim2.Init.Period = 9;
  htim2.Init.ClockDivision = TIM_CLOCKDIVISION_DIV1;
  htim2.Init.AutoReloadPreload = TIM_AUTORELOAD_PRELOAD_DISABLE;
  if (HAL_TIM_Base_Init(&htim2) != HAL_OK)
  {
    Error_Handler();
  }
  sClockSourceConfig.ClockSource = TIM_CLOCKSOURCE_INTERNAL;
  if (HAL_TIM_ConfigClockSource(&htim2, &sClockSourceConfig) != HAL_OK)
  {
    Error_Handler();
  }
  sMasterConfig.MasterOutputTrigger = TIM_TRGO_RESET;
  sMasterConfig.MasterSlaveMode = TIM_MASTERSLAVEMODE_DISABLE;
  if (HAL_TIMEx_MasterConfigSynchronization(&htim2, &sMasterConfig) != HAL_OK)
  {
    Error_Handler();
  }

}

static void MX_TIM3_Init(void)
{

  TIM_ClockConfigTypeDef sClockSourceConfig = {0};
  TIM_MasterConfigTypeDef sMasterConfig = {0};
  TIM_OC_InitTypeDef sConfigOC = {0};

  htim3.Instance = TIM3;
  htim3.Init.Prescaler = 7;
  htim3.Init.CounterMode = TIM_COUNTERMODE_UP;
  htim3.Init.Period = 999;
  htim3.Init.ClockDivision = TIM_CLOCKDIVISION_DIV1;
  htim3.Init.AutoReloadPreload = TIM_AUTORELOAD_PRELOAD_DISABLE;
  if (HAL_TIM_Base_Init(&htim3) != HAL_OK)
  {
    Error_Handler();
  }
  sClockSourceConfig.ClockSource = TIM_CLOCKSOURCE_INTERNAL;
  if (HAL_TIM_ConfigClockSource(&htim3, &sClockSourceConfig) != HAL_OK)
  {
    Error_Handler();
  }
  if (HAL_TIM_PWM_Init(&htim3) != HAL_OK)
  {
    Error_Handler();
  }
  sMasterConfig.MasterOutputTrigger = TIM_TRGO_RESET;
  sMasterConfig.MasterSlaveMode = TIM_MASTERSLAVEMODE_DISABLE;
  if (HAL_TIMEx_MasterConfigSynchronization(&htim3, &sMasterConfig) != HAL_OK)
  {
    Error_Handler();
  }
  sConfigOC.OCMode = TIM_OCMODE_PWM1;
  sConfigOC.Pulse = 0;
  sConfigOC.OCPolarity = TIM_OCPOLARITY_HIGH;
  sConfigOC.OCFastMode = TIM_OCFAST_DISABLE;
  if (HAL_TIM_PWM_ConfigChannel(&htim3, &sConfigOC, TIM_CHANNEL_3) != HAL_OK)
  {
    Error_Handler();
  }
  HAL_TIM_MspPostInit(&htim3);

}

static void MX_USART1_UART_Init(void)
{

  huart1.Instance = USART1;
  huart1.Init.BaudRate = 115200;
  huart1.Init.WordLength = UART_WORDLENGTH_8B;
  huart1.Init.StopBits = UART_STOPBITS_1;
  huart1.Init.Parity = UART_PARITY_NONE;
  huart1.Init.Mode = UART_MODE_TX_RX;
  huart1.Init.HwFlowCtl = UART_HWCONTROL_NONE;
  huart1.Init.OverSampling = UART_OVERSAMPLING_16;
  if (HAL_UART_Init(&huart1) != HAL_OK)
  {
    Error_Handler();
  }

}

static void MX_GPIO_Init(void)
{
  GPIO_InitTypeDef GPIO_InitStruct = {0};

  /* GPIO Ports Clock Enable */
  __HAL_RCC_GPIOC_CLK_ENABLE();
  __HAL_RCC_GPIOA_CLK_ENABLE();
  __HAL_RCC_GPIOB_CLK_ENABLE();

  /*Configure GPIO pin Output Level */
  HAL_GPIO_WritePin(BOARD_LED_GPIO_Port, BOARD_LED_Pin, GPIO_PIN_SET);

  /*Configure GPIO pin Output Level */
  HAL_GPIO_WritePin(LATCH_595_GPIO_Port, LATCH_595_Pin, GPIO_PIN_RESET);

  /*Configure GPIO pin Output Level */
  HAL_GPIO_WritePin(BUZZER_GPIO_Port, BUZZER_Pin, GPIO_PIN_SET);

  /*Configure GPIO pin : BOARD_LED_Pin */
  GPIO_InitStruct.Pin = BOARD_LED_Pin;
  GPIO_InitStruct.Mode = GPIO_MODE_OUTPUT_PP;
  GPIO_InitStruct.Pull = GPIO_NOPULL;
  GPIO_InitStruct.Speed = GPIO_SPEED_FREQ_LOW;
  HAL_GPIO_Init(BOARD_LED_GPIO_Port, &GPIO_InitStruct);

  /*Configure GPIO pins : BTN_MODE_Pin BTN_PLUS_Pin BTN_MINUS_Pin BTN_OK_Pin */
  GPIO_InitStruct.Pin = BTN_MODE_Pin|BTN_PLUS_Pin|BTN_MINUS_Pin|BTN_OK_Pin;
  GPIO_InitStruct.Mode = GPIO_MODE_INPUT;
  GPIO_InitStruct.Pull = GPIO_PULLUP;
  HAL_GPIO_Init(GPIOA, &GPIO_InitStruct);

  /*Configure GPIO pin : LATCH_595_Pin */
  GPIO_InitStruct.Pin = LATCH_595_Pin;
  GPIO_InitStruct.Mode = GPIO_MODE_OUTPUT_PP;
  GPIO_InitStruct.Pull = GPIO_NOPULL;
  GPIO_InitStruct.Speed = GPIO_SPEED_FREQ_LOW;
  HAL_GPIO_Init(LATCH_595_GPIO_Port, &GPIO_InitStruct);

  /*Configure GPIO pins : DS3231_INT_Pin APDS_INT_Pin */
  GPIO_InitStruct.Pin = DS3231_INT_Pin|APDS_INT_Pin;
  GPIO_InitStruct.Mode = GPIO_MODE_IT_FALLING;
  GPIO_InitStruct.Pull = GPIO_PULLUP;
  HAL_GPIO_Init(GPIOB, &GPIO_InitStruct);

  /*Configure GPIO pin : BUZZER_Pin */
  GPIO_InitStruct.Pin = BUZZER_Pin;
  GPIO_InitStruct.Mode = GPIO_MODE_OUTPUT_PP;
  GPIO_InitStruct.Pull = GPIO_NOPULL;
  GPIO_InitStruct.Speed = GPIO_SPEED_FREQ_LOW;
  HAL_GPIO_Init(BUZZER_GPIO_Port, &GPIO_InitStruct);

  /* EXTI interrupt init*/
  HAL_NVIC_SetPriority(EXTI15_10_IRQn, 0, 0);
  HAL_NVIC_EnableIRQ(EXTI15_10_IRQn);

}

/* USER CODE BEGIN 4 */
void HAL_TIM_PeriodElapsedCallback(TIM_HandleTypeDef *htim)
{
  if ((htim != NULL) && (htim->Instance == TIM2))
  {
    AppScheduler_On10msTickFromIsr();
  }
}

void HAL_GPIO_EXTI_Callback(uint16_t GPIO_Pin)
{
  if (GPIO_Pin == DS3231_INT_Pin)
  {
    AlarmService_HandleRtcInterruptFromIsr(&alarm_service);
  }
}

/* USER CODE END 4 */

void Error_Handler(void)
{
  __disable_irq();
  while (1)
  {
  }
}
